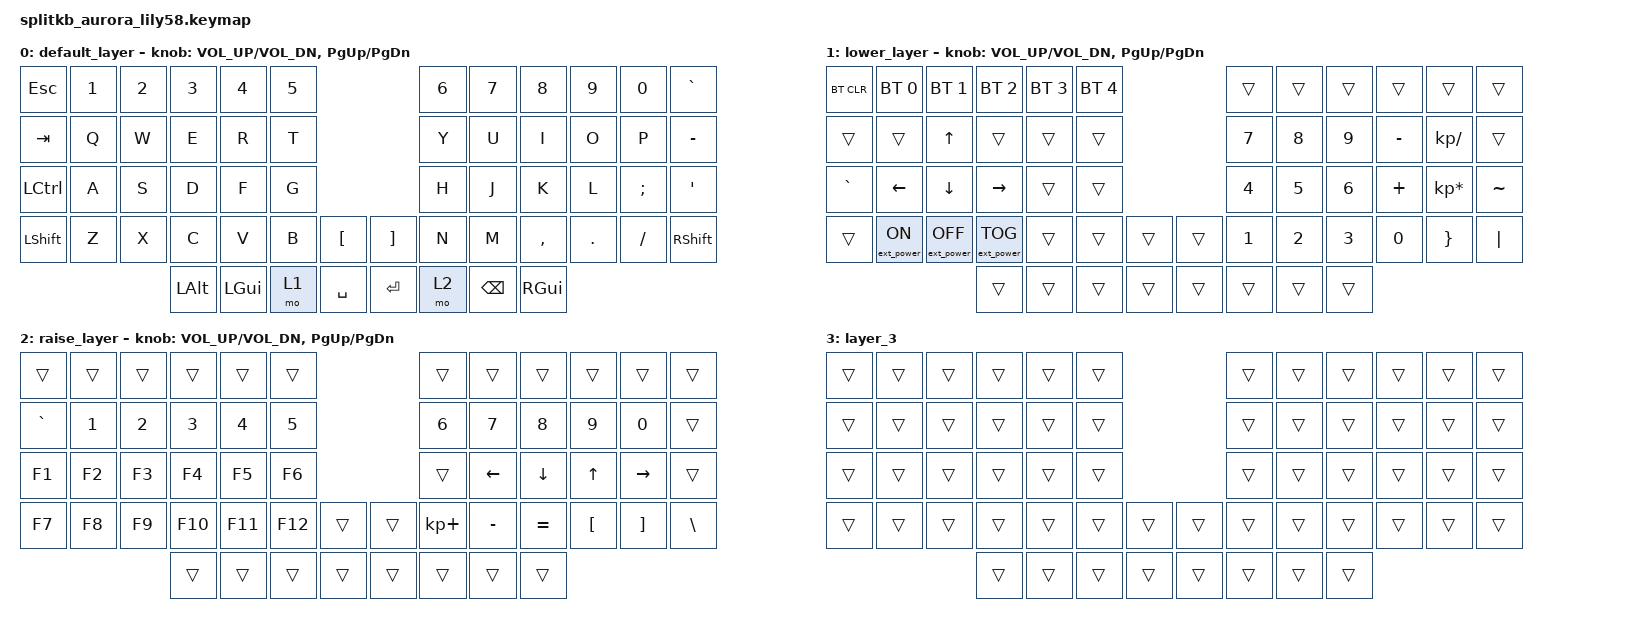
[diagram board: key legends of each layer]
/*
 * Copyright (c) 2022 The ZMK Contributors
 *
 * SPDX-License-Identifier: MIT
 */

#include <behaviors.dtsi>
#include <dt-bindings/zmk/bt.h>
#include <dt-bindings/zmk/ext_power.h>
#include <dt-bindings/zmk/keys.h>

/ {
    combos {
        compatible = "zmk,combos";

        snippet {
            bindings = <&kp LS(LG(NUMBER_4))>;
            key-positions = <0 11>;
            layers = <0 1 2>;
        };
    };

    keymap {
        compatible = "zmk,keymap";

        default_layer {
            // ------------------------------------------------------------------------------------------------------------
            // |  ESC  |  1  |  2  |  3   |  4   |  5   |                   |  6   |  7    |  8    |  9   |   0   |   `   |
            // |  TAB  |  Q  |  W  |  E   |  R   |  T   |                   |  Y   |  U    |  I    |  O   |   P   |   -   |
            // |  CTRL |  A  |  S  |  D   |  F   |  G   |                   |  H   |  J    |  K    |  L   |   ;   |   '   |
            // | SHIFT |  Z  |  X  |  C   |  V   |  B   |   "["  |  |  "]"  |  N   |  M    |  ,    |  .   |   /   | SHIFT |
            //                     | ALT  | GUI  | LOWER|  SPACE |  | ENTER | RAISE| BSPC  | GUI   |

            bindings = <
&kp ESC    &kp N1  &kp N2  &kp N3    &kp N4    &kp N5                         &kp N6  &kp N7    &kp N8     &kp N9   &kp N0    &kp GRAVE
&kp TAB    &kp Q   &kp W   &kp E     &kp R     &kp T                          &kp Y   &kp U     &kp I      &kp O    &kp P     &kp MINUS
&kp LCTRL  &kp A   &kp S   &kp D     &kp F     &kp G                          &kp H   &kp J     &kp K      &kp L    &kp SEMI  &kp SQT
&kp LSHFT  &kp Z   &kp X   &kp C     &kp V     &kp B   &kp LBKT     &kp RBKT  &kp N   &kp M     &kp COMMA  &kp DOT  &kp FSLH  &kp RSHFT
                           &kp LALT  &kp LGUI  &mo 1   &kp SPACE    &kp RET   &mo 2   &kp BSPC  &kp RGUI
            >;

            sensor-bindings =
                <&inc_dec_kp C_VOL_UP C_VOL_DN>,
                <&inc_dec_kp PG_UP PAGE_DOWN>;
        };

        lower_layer {
            // ------------------------------------------------------------------------------------------------------------
            // | BTCLR | BT1 | BT2 |  BT3 |  BT4 |  BT5 |                   |      |       |       |      |       |       |
            // |  F1   |  F2 |  F3 |  F4  |  F5  |  F6  |                   |  F7  |  F8   |  F9   |  F10 |  F11  |  F12  |
            // |   `   |  !  |  @  |  #   |  $   |  %   |                   |  ^   |  &    |  *    |  (   |   )   |   ~   |
            // |       |     |     |      |      |      |        |  |       |      |  _    |  +    |  {   |   }   |  "|"  |
            //                     |      |      |      |        |  |       |      |       |       |

            bindings = <
&bt BT_CLR  &bt BT_SEL 0      &bt BT_SEL 1       &bt BT_SEL 2       &bt BT_SEL 3  &bt BT_SEL 4                    &trans        &trans  &trans  &trans        &trans           &trans
&trans      &trans            &kp UP_ARROW       &trans             &trans        &trans                          &kp N7        &kp N8  &kp N9  &kp MINUS     &kp KP_DIVIDE    &trans
&kp GRAVE   &kp LEFT          &kp DOWN_ARROW     &kp RIGHT_ARROW    &trans        &trans                          &kp N4        &kp N5  &kp N6  &kp PLUS      &kp KP_MULTIPLY  &kp TILDE
&trans      &ext_power EP_ON  &ext_power EP_OFF  &ext_power EP_TOG  &trans        &trans        &trans    &trans  &kp NUMBER_1  &kp N2  &kp N3  &kp NUMBER_0  &kp RBRC         &kp PIPE
                                                 &trans             &trans        &trans        &trans    &trans  &trans        &trans  &trans
            >;

            sensor-bindings =
                <&inc_dec_kp C_VOL_UP C_VOL_DN>,
                <&inc_dec_kp PAGE_UP PAGE_DOWN>;
        };

        raise_layer {
            // ------------------------------------------------------------------------------------------------------------
            // |       |     |     |      |      |      |                   |      |       |       |      |       |       |
            // |   `   |  1  |  2  |  3   |  4   |  5   |                   |  6   |   7   |   8   |  9   |   0   |       |
            // |   F1  |  F2 |  F3 |  F4  |  F5  |  F6  |                   |      |   <-  |   v   |  ^   |  ->   |       |
            // |   F7  |  F8 |  F9 |  F10 |  F11 |  F12 |        |  |       |  +   |   -   |   =   |  [   |   ]   |   \   |
            //                     |      |      |      |        |  |       |      |       |       |

            bindings = <
&trans     &trans  &trans  &trans   &trans   &trans                     &trans       &trans     &trans     &trans    &trans     &trans
&kp GRAVE  &kp N1  &kp N2  &kp N3   &kp N4   &kp N5                     &kp N6       &kp N7     &kp N8     &kp N9    &kp N0     &trans
&kp F1     &kp F2  &kp F3  &kp F4   &kp F5   &kp F6                     &trans       &kp LEFT   &kp DOWN   &kp UP    &kp RIGHT  &trans
&kp F7     &kp F8  &kp F9  &kp F10  &kp F11  &kp F12  &trans    &trans  &kp KP_PLUS  &kp MINUS  &kp EQUAL  &kp LBKT  &kp RBKT   &kp BSLH
                           &trans   &trans   &trans   &trans    &trans  &trans       &trans     &trans
            >;

            sensor-bindings =
                <&inc_dec_kp C_VOL_UP C_VOL_DN>,
                <&inc_dec_kp PAGE_UP PAGE_DOWN>;
        };

        layer_3 {
            bindings = <
&trans  &trans  &trans  &trans  &trans  &trans                    &trans  &trans  &trans  &trans  &trans  &trans
&trans  &trans  &trans  &trans  &trans  &trans                    &trans  &trans  &trans  &trans  &trans  &trans
&trans  &trans  &trans  &trans  &trans  &trans                    &trans  &trans  &trans  &trans  &trans  &trans
&trans  &trans  &trans  &trans  &trans  &trans  &trans    &trans  &trans  &trans  &trans  &trans  &trans  &trans
                        &trans  &trans  &trans  &trans    &trans  &trans  &trans  &trans
            >;
        };
    };
};
